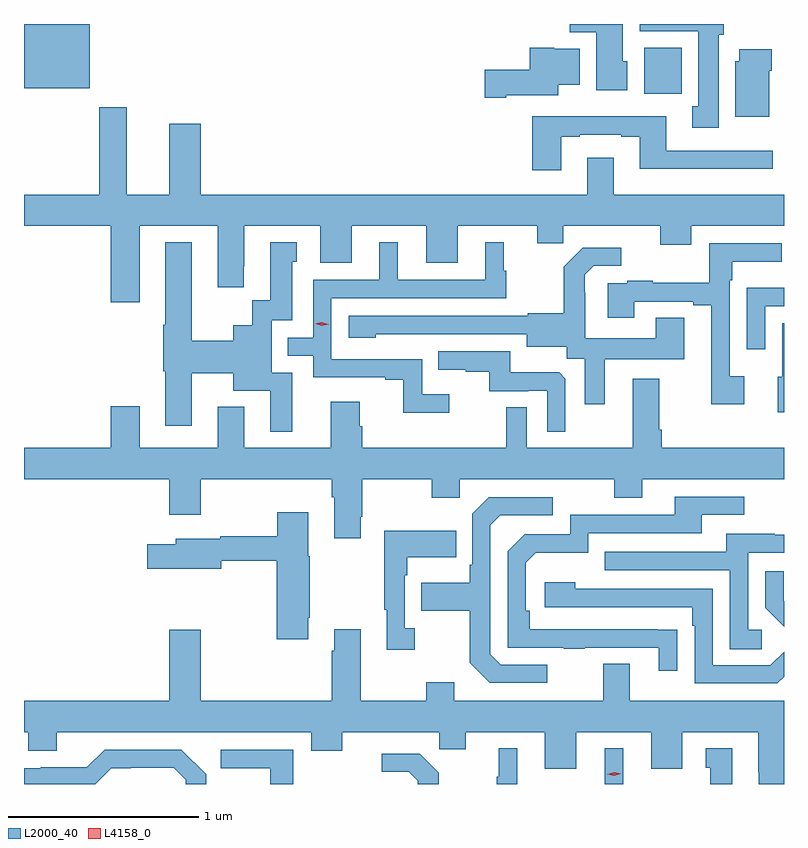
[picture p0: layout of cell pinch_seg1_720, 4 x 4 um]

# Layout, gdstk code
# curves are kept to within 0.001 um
import gdstk
lib = gdstk.Library(unit=1e-6, precision=1e-09)
def R(c, l, rs):  # rectangles x0, y0, x1, y1
    for r in rs: c.add(gdstk.rectangle(r[:2], r[2:], *l))
def P(c, l, *ps):  # polygons
    for p in ps: c.add(gdstk.Polygon(p, *l))
L2000_40 = (2000, 40)
L4158_0 = (4158, 0)

pinch_seg1_720 = lib.new_cell('pinch_seg1_720')
R(pinch_seg1_720, L2000_40, [(670.796,527.483,670.894,527.671), (671.003,531.116,671.2,531.358), (667.739,531.146,668.086,531.483)])
P(pinch_seg1_720, L2000_40, [(671.395,531.426),(671.422,531.426),(671.422,531.483),(670.979,531.483),(670.979,531.446),(671.288,531.446),(671.288,531.05),(671.255,531.05),(671.255,530.937),(671.395,530.937)],
  [(670.915,531.288),(670.891,531.288),(670.891,531.483),(670.612,531.483),(670.612,531.44),(670.751,531.44),(670.751,531.134),(670.915,531.134)],
  [(670.276,531.107),(670.552,531.107),(670.552,531.164),(670.663,531.164),(670.663,531.352),(670.53,531.352),(670.53,531.358),(670.4,531.358),(670.4,531.242),(670.164,531.242),(670.164,531.095),(670.276,531.095)],
  [(671.662,531.236),(671.675,531.236),(671.675,531.349),(671.504,531.349),(671.504,531.288),(671.483,531.288),(671.483,530.996),(671.662,530.996)],
  [(670.567,530.889),(670.663,530.889),(670.663,530.901),(670.883,530.901),(670.883,530.889),(670.979,530.889),(670.979,530.72),(671.68,530.72),(671.68,530.817),(671.119,530.817),(671.119,530.998),(670.415,530.998),(670.415,530.712),(670.567,530.712)],
  [(670.843,530.779),(670.703,530.779),(670.703,530.584),(668.668,530.584),(668.668,530.959),(668.504,530.959),(668.504,530.584),(668.281,530.584),(668.281,531.046),(668.134,531.046),(668.134,530.584),(667.739,530.584),(667.739,530.42),(668.195,530.42),(668.195,530.019),(668.347,530.019),(668.347,530.42),(668.759,530.42),(668.759,530.097),(668.896,530.097),(668.896,530.209),(668.899,530.209),(668.899,530.42),(669.299,530.42),(669.299,530.226),(669.463,530.226),(669.463,530.42),(669.857,530.42),(669.857,530.226),(670.021,530.226),(670.021,530.42),(670.439,530.42),(670.439,530.33),(670.577,530.33),(670.577,530.42),(671.087,530.42),(671.087,530.321),(671.251,530.321),(671.251,530.42),(671.739,530.42),(671.739,530.584),(670.843,530.584)],
  [(669.151,529.647),(669.042,529.647),(669.042,529.923),(669.151,529.923),(669.151,530.232),(669.175,530.232),(669.175,530.335),(669.035,530.335),(669.035,530.028),(668.939,530.028),(668.939,529.897),(668.84,529.897),(668.84,529.817),(668.623,529.817),(668.623,530.335),(668.483,530.335),(668.483,529.9),(668.471,529.9),(668.471,529.656),(668.483,529.656),(668.483,529.368),(668.623,529.368),(668.623,529.645),(668.84,529.645),(668.84,529.553),(669.035,529.553),(669.035,529.338),(669.151,529.338)],
  [(669.976,529.534),(669.834,529.534),(669.834,529.719),(669.357,529.719),(669.357,530.04),(670.276,530.04),(670.276,530.184),(670.264,530.184),(670.264,530.335),(670.166,530.335),(670.166,530.136),(669.706,530.136),(669.706,530.335),(669.608,530.335),(669.608,530.136),(669.261,530.136),(669.261,529.833),(669.128,529.833),(669.128,529.737),(669.261,529.737),(669.261,529.623),(669.641,529.623),(669.641,529.611),(669.736,529.611),(669.736,529.436),(669.976,529.436)],
  [(671.53,529.63),(671.454,529.63),(671.454,530.135),(671.467,530.135),(671.467,530.231),(671.728,530.231),(671.728,530.328),(671.346,530.328),(671.346,530.12),(671.047,530.12),(671.047,530.131),(670.915,530.131),(670.915,530.118),(670.811,530.118),(670.811,529.938),(670.951,529.938),(670.951,530.022),(671.261,530.022),(671.261,530.004),(671.357,530.004),(671.357,529.482),(671.53,529.482)],
  [(670.795,529.718),(671.215,529.718),(671.215,529.937),(671.063,529.937),(671.063,529.828),(670.692,529.828),(670.692,530.069),(670.69,530.069),(670.69,530.164),(670.737,530.211),(670.882,530.211),(670.882,530.305),(670.681,530.305),(670.581,530.205),(670.581,529.96),(670.389,529.96),(670.389,529.947),(669.447,529.947),(669.447,529.832),(669.591,529.832),(669.591,529.85),(670.385,529.851),(670.385,529.784),(670.596,529.784),(670.596,529.72),(670.691,529.72),(670.691,529.482),(670.795,529.482)],
  [(671.64,529.998),(671.739,529.998),(671.739,530.095),(671.544,530.095),(671.544,529.77),(671.64,529.77)],
  [(671.739,529.908),(671.73,529.908),(671.73,529.626),(671.705,529.626),(671.705,529.439),(671.739,529.439)],
  [(670.587,529.617),(670.555,529.649),(670.297,529.649),(670.297,529.761),(669.919,529.761),(669.919,529.664),(670.063,529.664),(670.063,529.653),(670.187,529.653),(670.187,529.551),(670.394,529.551),(670.394,529.554),(670.494,529.554),(670.494,529.337),(670.587,529.337)],
  [(670.993,529.088),(671.739,529.088),(671.739,529.252),(671.096,529.252),(671.096,529.348),(671.083,529.348),(671.083,529.615),(670.943,529.615),(670.943,529.252),(670.386,529.252),(670.386,529.466),(670.278,529.466),(670.278,529.252),(669.518,529.252),(669.518,529.365),(669.505,529.365),(669.505,529.495),(669.353,529.495),(669.353,529.252),(668.899,529.252),(668.899,529.468),(668.759,529.468),(668.759,529.252),(668.347,529.252),(668.347,529.471),(668.195,529.471),(668.195,529.252),(667.739,529.252),(667.739,529.088),(668.504,529.088),(668.504,528.9),(668.668,528.9),(668.668,529.088),(669.359,529.088),(669.359,528.992),(669.371,528.992),(669.371,528.777),(669.511,528.777),(669.511,528.889),(669.519,528.889),(669.519,529.088),(669.886,529.088),(669.886,528.989),(670.032,528.989),(670.032,529.088),(670.846,529.088),(670.846,528.989),(670.993,528.989)],
  [(671.177,528.296),(670.4,528.297),(670.4,528.394),(670.38,528.394),(670.38,528.648),(670.433,528.701),(670.71,528.701),(670.71,528.804),(671.305,528.804),(671.305,528.9),(671.53,528.9),(671.53,528.996),(671.165,528.996),(671.165,528.9),(670.614,528.9),(670.614,528.798),(670.374,528.798),(670.284,528.708),(670.284,528.201),(670.579,528.201),(670.579,528.196),(670.691,528.196),(670.691,528.201),(671.081,528.201),(671.081,528.078),(671.177,528.078)],
  [(670.492,528.111),(670.248,528.111),(670.194,528.165),(670.194,528.846),(670.245,528.897),(670.522,528.897),(670.522,528.993),(670.185,528.993),(670.098,528.906),(670.098,528.637),(670.086,528.637),(670.086,528.541),(669.829,528.541),(669.829,528.394),(670.086,528.394),(670.086,528.121),(670.191,528.015),(670.492,528.015)],
  [(669.235,528.358),(669.243,528.358),(669.243,528.681),(669.235,528.681),(669.235,528.913),(669.073,528.913),(669.073,528.787),(668.772,528.787),(668.772,528.774),(668.537,528.774),(668.537,528.745),(668.388,528.745),(668.388,528.616),(668.776,528.616),(668.776,528.658),(669.068,528.658),(669.068,528.246),(669.235,528.246)],
  [(669.796,528.302),(669.744,528.302),(669.744,528.581),(669.757,528.581),(669.757,528.677),(670.013,528.677),(670.013,528.817),(669.636,528.817),(669.636,528.401),(669.647,528.401),(669.647,528.189),(669.796,528.189)],
  [(671.623,528.294),(671.55,528.294),(671.55,528.699),(671.739,528.699),(671.739,528.795),(671.689,528.795),(671.689,528.799),(671.435,528.799),(671.435,528.705),(670.795,528.705),(670.795,528.609),(671.454,528.609),(671.454,528.193),(671.623,528.193)],
  [(671.739,528.445),(671.737,528.447),(671.737,528.604),(671.64,528.604),(671.64,528.41),(671.739,528.311)],
  [(671.739,528.048),(671.739,528.18),(671.667,528.108),(671.364,528.108),(671.364,528.51),(670.64,528.51),(670.64,528.544),(670.479,528.544),(670.479,528.414),(671.255,528.414),(671.255,528.317),(671.268,528.317),(671.268,528.012),(671.703,528.012)],
  [(671.739,527.92),(670.927,527.92),(670.927,528.115),(670.787,528.115),(670.787,527.92),(670.003,527.92),(670.003,528.019),(669.856,528.019),(669.856,527.92),(669.511,527.92),(669.511,528.298),(669.371,528.298),(669.371,528.185),(669.359,528.185),(669.359,527.92),(668.668,527.92),(668.668,528.295),(668.504,528.295),(668.504,527.92),(667.739,527.92),(667.739,527.756),(667.762,527.756),(667.762,527.658),(667.912,527.658),(667.912,527.756),(669.251,527.756),(669.251,527.657),(669.415,527.657),(669.415,527.756),(669.925,527.756),(669.925,527.666),(670.063,527.666),(670.063,527.756),(670.481,527.756),(670.481,527.562),(670.645,527.562),(670.645,527.756),(671.039,527.756),(671.039,527.562),(671.203,527.562),(671.203,527.756),(671.603,527.756),(671.603,527.545),(671.606,527.545),(671.606,527.483),(671.739,527.483)],
  [(670.336,527.671),(670.238,527.671),(670.238,527.52),(670.227,527.52),(670.227,527.483),(670.336,527.483)],
  [(671.467,527.671),(671.327,527.671),(671.327,527.568),(671.351,527.568),(671.351,527.483),(671.467,527.483)],
  [(668.198,527.567),(668.526,527.568),(668.589,527.505),(668.589,527.483),(668.697,527.483),(668.697,527.534),(668.566,527.664),(668.163,527.664),(668.069,527.57),(667.828,527.57),(667.828,527.565),(667.739,527.565),(667.739,527.483),(668.114,527.483)],
  [(669.157,527.664),(668.775,527.664),(668.775,527.567),(669.036,527.567),(669.036,527.483),(669.157,527.483)],
  [(669.921,527.541),(669.821,527.641),(669.621,527.641),(669.621,527.547),(669.765,527.547),(669.812,527.5),(669.812,527.483),(669.921,527.483)])
P(pinch_seg1_720, L4158_0, [(669.306,529.894),(669.272,529.905),(669.272,529.905),(669.272,529.906),(669.307,529.913),(669.341,529.902),(669.342,529.902),(669.341,529.902)],
  [(670.845,527.526),(670.809,527.534),(670.809,527.535),(670.809,527.535),(670.845,527.546),(670.881,527.537),(670.881,527.537),(670.881,527.537)])

lib.write_gds('pinch_seg1_720.gds')
